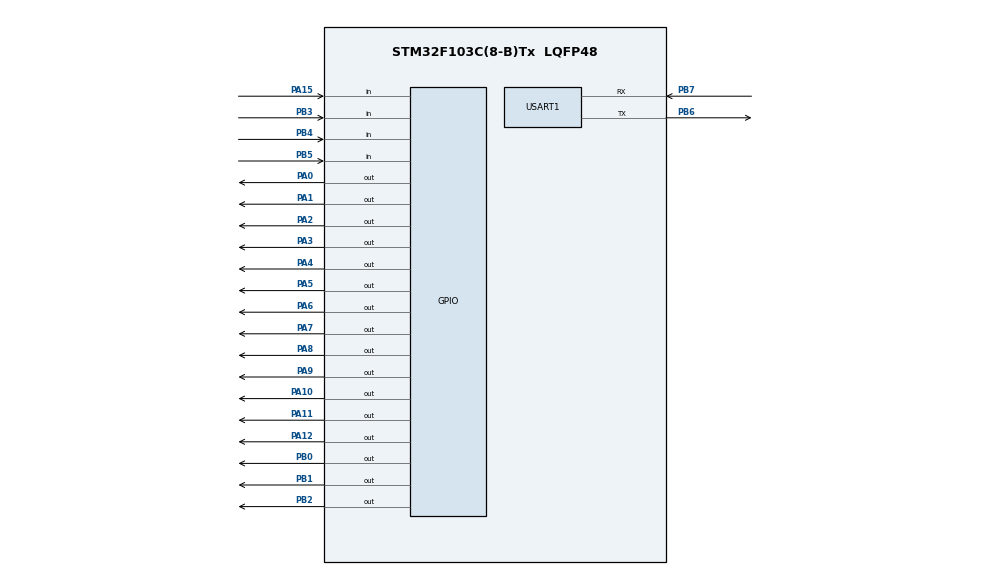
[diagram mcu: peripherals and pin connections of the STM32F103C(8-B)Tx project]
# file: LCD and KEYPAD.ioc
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Mcu.Family=STM32F1
Mcu.Name=STM32F103C(8-B)Tx
Mcu.Package=LQFP48
NVIC.PriorityGroup=NVIC_PRIORITYGROUP_4
PA0-WKUP.Signal=GPIO_Output
PA1.Signal=GPIO_Output
PA10.Signal=GPIO_Output
PA11.Signal=GPIO_Output
PA12.Signal=GPIO_Output
PA13.Mode=Serial_Wire
PA13.Signal=SYS_JTMS-SWDIO
PA14.Mode=Serial_Wire
PA14.Signal=SYS_JTCK-SWCLK
PA15.GPIO_PuPd=GPIO_PULLUP
PA15.Signal=GPIO_Input
PA2.Signal=GPIO_Output
PA3.Signal=GPIO_Output
PA4.Signal=GPIO_Output
PA5.Signal=GPIO_Output
PA6.Signal=GPIO_Output
PA7.Signal=GPIO_Output
PA8.Signal=GPIO_Output
PA9.Signal=GPIO_Output
PB0.Signal=GPIO_Output
PB1.Signal=GPIO_Output
PB2.Signal=GPIO_Output
PB3.GPIO_PuPd=GPIO_PULLUP
PB3.Signal=GPIO_Input
PB4.GPIO_PuPd=GPIO_PULLUP
PB4.Signal=GPIO_Input
PB5.GPIO_PuPd=GPIO_PULLUP
PB5.Signal=GPIO_Input
PB6.Mode=Asynchronous
PB6.Signal=USART1_TX
PB7.Mode=Asynchronous
PB7.Signal=USART1_RX
PD0-OSC_IN.Mode=HSE-External-Oscillator
PD0-OSC_IN.Signal=RCC_OSC_IN
PD1-OSC_OUT.Mode=HSE-External-Oscillator
PD1-OSC_OUT.Signal=RCC_OSC_OUT
ProjectManager.HeapSize=0x200
ProjectManager.StackSize=0x400
ProjectManager.TargetToolchain=MDK-ARM V5.32
RCC.AHBFreq_Value=72000000
RCC.APB1CLKDivider=RCC_HCLK_DIV2
RCC.APB1Freq_Value=36000000
RCC.APB1TimFreq_Value=72000000
RCC.APB2Freq_Value=72000000
RCC.APB2TimFreq_Value=72000000
RCC.HCLKFreq_Value=72000000
RCC.PLLMUL=RCC_PLL_MUL9
RCC.PLLSourceVirtual=RCC_PLLSOURCE_HSE
RCC.SYSCLKFreq_VALUE=72000000
RCC.SYSCLKSource=RCC_SYSCLKSOURCE_PLLCLK
RCC.USBFreq_Value=72000000
USART1.VirtualMode=VM_ASYNC
board=custom

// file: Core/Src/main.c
	/* USER CODE BEGIN Header */
	/**
		******************************************************************************
		* @file           : main.c
		* @brief          : Main program body
		******************************************************************************
		* @attention
		*
		* Copyright (c) 2026 STMicroelectronics.
		* All rights reserved.
		*
		* This software is licensed under terms that can be found in the LICENSE file
		* in the root directory of this software component.
		* If no LICENSE file comes with this software, it is provided AS-IS.
		*
		******************************************************************************
		*/
	/* USER CODE END Header */
	/* Includes ------------------------------------------------------------------*/
	#include "main.h"
	#include "lcd.h"
	/* Private includes ----------------------------------------------------------*/

	/* Private typedef -----------------------------------------------------------*/

	/* Private define ------------------------------------------------------------*/
	/* USER CODE BEGIN PD */
	/* ---------------------------------------------------------------------------
 * 5x4 Matrix Keypad Pin Mapping
 * Rows  (R1-R5) : Outputs, driven LOW one at a time during scanning
 * Columns (C1-C4): Inputs, read while pulled HIGH by external/internal pull-ups
 * A pressed key connects a row to a column, pulling that column LOW
 * ------------------------------------------------------------------------- */
	#define R1_PORT GPIOA
	#define R1_PIN GPIO_PIN_8

	#define R2_PORT GPIOA
	#define R2_PIN GPIO_PIN_9

	#define R3_PORT GPIOA
	#define R3_PIN GPIO_PIN_10

	#define R4_PORT GPIOA
	#define R4_PIN GPIO_PIN_11

	#define R5_PORT GPIOA
	#define R5_PIN GPIO_PIN_12

	#define C1_PORT GPIOB
	#define C1_PIN GPIO_PIN_5

	#define C2_PORT GPIOB
	#define C2_PIN GPIO_PIN_4

	#define C3_PORT GPIOB
	#define C3_PIN GPIO_PIN_3

	#define C4_PORT GPIOA
	#define C4_PIN GPIO_PIN_15

	/* USER CODE END PD */

	/* Private macro -------------------------------------------------------------*/

	/* Private variables ---------------------------------------------------------*/
	UART_HandleTypeDef huart1;

	/* USER CODE BEGIN PV */
	int value ;

	/* Buffer that accumulates every key pressed so far, displayed on the LCD */
	char str[20];

	/* Current write index into str[] — acts as the "next free slot" pointer */
	uint8_t memory = 0;
	/* USER CODE END PV */

	/* Private function prototypes -----------------------------------------------*/
	void SystemClock_Config(void);
	static void MX_GPIO_Init(void);
	static void MX_USART1_UART_Init(void);
	/* USER CODE BEGIN PFP */
	char read_keypad (void);
	/* USER CODE END PFP */

	/* Private user code ---------------------------------------------------------*/
	/* USER CODE BEGIN 0 */
	/* Holds the character code returned by the most recent read_keypad() call */
	uint8_t key;

	/* Lookup table mapping each physical key position (row-major order)
 * to its printable character. Index = (row * 4) + column. */
	uint8_t KEY[]=
	{'F','f','#','*',
		'1','2','3','U',
		'4','5','6','D',
		'7','8','9','E',
		'L','0','R','T' };

/**
 * @brief  Scans the 5x4 matrix keypad and returns the character of the
 *         key currently pressed.
 *
 * Scanning method: one row at a time is driven LOW while all other rows
 * are held HIGH. Each column input is then checked — if a column reads
 * LOW, the key at the intersection of the active row and that column
 * is being pressed. A blocking while-loop waits for key release
 * (simple debounce), after which the character is appended to the
 * str[] buffer and shown on the LCD.
 *
 * @retval Character corresponding to the pressed key, or 'N' if no
 *         key is currently pressed in any row.
 */

	char read_keypad (void)
	{
		/* ---------------- ROW 1 scan ---------------- */
	// Drive R1 LOW, keep R2-R5 HIGH so only Row 1 can pull a column LOW
		HAL_GPIO_WritePin (R1_PORT, R1_PIN,GPIO_PIN_RESET); //PULL R1 LOW
		HAL_GPIO_WritePin (R2_PORT, R2_PIN,GPIO_PIN_SET); //PULL Rx up
		HAL_GPIO_WritePin (R3_PORT, R3_PIN,GPIO_PIN_SET);//PULL Rx up
		HAL_GPIO_WritePin (R4_PORT, R4_PIN,GPIO_PIN_SET); //PULL Rx up
		HAL_GPIO_WritePin (R5_PORT, R5_PIN,GPIO_PIN_SET); //PULL Rx up
		HAL_Delay(5); // Let GPIO levels settle before reading columns

		if(!(HAL_GPIO_ReadPin (C1_PORT, C1_PIN)))
			{
				while (!(HAL_GPIO_ReadPin (C1_PORT,C1_PIN))); //// Wait until button released
		str[memory] = KEY[0];                        // Store new character
		memory++;                                   // Move to next position
		str[memory] = '\0';                         // End string
		lcd_puts(str);                               // Display key on LCD
		lcd_gotoxy(0,0);
		return 'F';
		}
	if(!(HAL_GPIO_ReadPin (C2_PORT, C2_PIN))){
		while (!(HAL_GPIO_ReadPin (C2_PORT,C2_PIN))); //// Wait until button released
	str[memory] = KEY[1];                        // Store new character
		memory++;                                   // Move to next position
		str[memory] = '\0';                         // End string
		lcd_gotoxy(0,0);                        // Display key on LCD
		lcd_puts(str);
	return 'f';
	}
	if(!(HAL_GPIO_ReadPin (C3_PORT, C3_PIN))){
		while (!(HAL_GPIO_ReadPin (C3_PORT,C3_PIN))); //// Wait until button released
	str[memory] = KEY[2];                        // Store new character
		memory++;                                   // Move to next position
		str[memory] = '\0';                         // End string
		lcd_gotoxy(0,0);                          // Display key on LCD
		lcd_puts(str);

	return '#';
	}
	if(!(HAL_GPIO_ReadPin (C4_PORT, C4_PIN))){
		while (!(HAL_GPIO_ReadPin (C4_PORT,C4_PIN))); //// Wait until button released
	str[memory] = KEY[3];                        // Store new character
		memory++;                                   // Move to next position
		str[memory] = '\0';                         // End string
		lcd_gotoxy(0,0);
		lcd_puts(str);                               // Display key on LC

	return '*';
	}

	/* ---------------- ROW 2 scan ---------------- */
	// Drive R2 LOW, keep R1,R3-R5 HIGH so only Row 2 can pull a column LOW
		HAL_GPIO_WritePin (R1_PORT, R1_PIN,GPIO_PIN_SET); //PULL R1 UP
		HAL_GPIO_WritePin (R2_PORT, R2_PIN,GPIO_PIN_RESET); //PULL R2 LOW
		HAL_GPIO_WritePin (R3_PORT, R3_PIN,GPIO_PIN_SET);//PULL Rx up
		HAL_GPIO_WritePin (R4_PORT, R4_PIN,GPIO_PIN_SET); //PULL Rx up
		HAL_GPIO_WritePin (R5_PORT, R5_PIN,GPIO_PIN_SET); //PULL Rx up
		HAL_Delay(5); // Let GPIO levels settle before reading columns

	if(!(HAL_GPIO_ReadPin (C1_PORT, C1_PIN))){
		while (!(HAL_GPIO_ReadPin (C1_PORT,C1_PIN))); //WAIT TILL THE BUTTON IS PERESSED
str[memory] = KEY[4];                        // Store new character
		memory++;                                   // Move to next position
		str[memory] = '\0';                      // End string
		lcd_gotoxy(0,0);
		lcd_puts(str);                               // Display key on LCD
	return '1';
	}
	if(!(HAL_GPIO_ReadPin (C2_PORT, C2_PIN))){
		while (!(HAL_GPIO_ReadPin (C2_PORT,C2_PIN))); //WAIT TILL THE BUTTON IS PORESSED
	str[memory] = KEY[5];                        // Store new character
		memory++;                                   // Move to next position
		str[memory] = '\0';                          // End string
		lcd_gotoxy(0,0);
		lcd_puts(str);                               // Display key on LCD
	return '2';
	}
	if(!(HAL_GPIO_ReadPin (C3_PORT, C3_PIN))){
		while (!(HAL_GPIO_ReadPin (C3_PORT,C3_PIN))); //WAIT TILL THE BUTTON IS PORESSED
str[memory] = KEY[6];                        // Store new character
		memory++;                                   // Move to next position
		str[memory] = '\0';                       // End string
		lcd_gotoxy(0,0);
		lcd_puts(str);                            // Display key on LCD
	return '3';
	}
	if(!(HAL_GPIO_ReadPin (C4_PORT, C4_PIN))){
		while (!(HAL_GPIO_ReadPin (C4_PORT,C4_PIN))); //WAIT TILL THE BUTTON IS PORESSED
	str[memory] = KEY[7];                        // Store new character
		memory++;                                   // Move to next position
		str[memory] = '\0';
		lcd_gotoxy(0,0);                         // End string
		lcd_puts(str);
	return 'U';
	}

	/* ---------------- ROW 3 scan ---------------- */
	// Drive R3 LOW, keep R1,R2,R4,R5 HIGH so only Row 3 can pull a column LOW
		HAL_GPIO_WritePin (R1_PORT, R1_PIN,GPIO_PIN_SET); //PULL R1 UP
		HAL_GPIO_WritePin (R2_PORT, R2_PIN,GPIO_PIN_SET); //PULL Rx up
		HAL_GPIO_WritePin (R3_PORT, R3_PIN,GPIO_PIN_RESET);//PULL R3 LOW
		HAL_GPIO_WritePin (R4_PORT, R4_PIN,GPIO_PIN_SET); //PULL Rx up
		HAL_GPIO_WritePin (R5_PORT, R5_PIN,GPIO_PIN_SET); //PULL Rx up
		HAL_Delay(5);

	if(!(HAL_GPIO_ReadPin (C1_PORT, C1_PIN))){
		while (!(HAL_GPIO_ReadPin (C1_PORT,C1_PIN))); //WAIT TILL THE BUTTON IS PORESSED
str[memory] = KEY[8];                        // Store new character
		memory++;                                   // Move to next position
		str[memory] = '\0';                      // End string
		lcd_gotoxy(0,0);                        //DISPLAY
		lcd_puts(str);
	return '4';
	}
	if(!(HAL_GPIO_ReadPin (C2_PORT, C2_PIN))){
		while (!(HAL_GPIO_ReadPin (C2_PORT,C2_PIN))); //WAIT TILL THE BUTTON IS PORESSED
str[memory] = KEY[9];                        // Store new character
		memory++;                                   // Move to next position
		str[memory] = '\0';                     // End string
		lcd_gotoxy(0,0);                        //DISPLAY
		lcd_puts(str);
	return '5';
	}
	if(!(HAL_GPIO_ReadPin (C3_PORT, C3_PIN))){
		while (!(HAL_GPIO_ReadPin (C3_PORT,C3_PIN))); //WAIT TILL THE BUTTON IS PORESSED
	str[memory] = KEY[10];                        // Store new character
		memory++;                                   // Move to next position
		str[memory] = '\0';                        // End string
		lcd_gotoxy(0,0);                            //DISPLAY
		lcd_puts(str);
	return '6';
	}
	if(!(HAL_GPIO_ReadPin (C4_PORT, C4_PIN))){
		while (!(HAL_GPIO_ReadPin (C4_PORT,C4_PIN))); //WAIT TILL THE BUTTON IS PORESSED
	str[memory] = KEY[11];                        // Store new character
		memory++;                                   // Move to next position
		str[memory] = '\0';                        // End string
		lcd_gotoxy(0,0);
		lcd_puts(str);
	return 'D';
	}
			/* ---------------- ROW 4 scan ---------------- */
	// Drive R4 LOW, keep R1-R3,R5 HIGH so only Row 4 can pull a column LOW
		HAL_GPIO_WritePin (R1_PORT, R1_PIN,GPIO_PIN_SET); //PULL R1 UP
		HAL_GPIO_WritePin (R2_PORT, R2_PIN,GPIO_PIN_SET); //PULL Rx up
		HAL_GPIO_WritePin (R3_PORT, R3_PIN,GPIO_PIN_SET);//PULL R3 UP
		HAL_GPIO_WritePin (R4_PORT, R4_PIN,GPIO_PIN_RESET); //PULL R4 LOW
		HAL_GPIO_WritePin (R5_PORT, R5_PIN,GPIO_PIN_SET); //PULL Rx up
		HAL_Delay(5);

	if(!(HAL_GPIO_ReadPin (C1_PORT, C1_PIN))){
		while (!(HAL_GPIO_ReadPin (C1_PORT,C1_PIN))); //WAIT TILL THE BUTTON IS PORESSED
	str[memory] = KEY[12];                        // Store new character
		memory++;                                   // Move to next position
		str[memory] = '\0';
		lcd_gotoxy(0,0);                         // End string
		lcd_puts(str);                               // Display key on LCD
	return '7';
	}
	if(!(HAL_GPIO_ReadPin (C2_PORT, C2_PIN))){
		while (!(HAL_GPIO_ReadPin (C2_PORT,C2_PIN))); //WAIT TILL THE BUTTON IS PORESSED
	str[memory] = KEY[13];                        // Store new character
		memory++;                                   // Move to next position
		str[memory] = '\0';
		lcd_gotoxy(0,0);                        // End string
		lcd_puts(str);
	return '8';
	}
	if(!(HAL_GPIO_ReadPin (C3_PORT, C3_PIN))){
		while (!(HAL_GPIO_ReadPin (C3_PORT,C3_PIN))); //WAIT TILL THE BUTTON IS PORESSED
	str[memory] = KEY[14];                        // Store new character
		memory++;                                   // Move to next position
		str[memory] = '\0';
		lcd_gotoxy(0,0);                          // End string
		lcd_puts(str);
	return '9';
	}
	if(!(HAL_GPIO_ReadPin (C4_PORT, C4_PIN))){
		while (!(HAL_GPIO_ReadPin (C4_PORT,C4_PIN))); //WAIT TILL THE BUTTON IS PORESSED
str[memory] = KEY[15];                        // Store new character
		memory++;                                   // Move to next position
		str[memory] = '\0';
		lcd_gotoxy(0,0);                          // End string
		lcd_puts(str);
	return 'E';
	}
				/* ---------------- ROW 5 scan ---------------- */
	// Drive R5 LOW, keep R1-R4 HIGH so only Row 5 can pull a column LOW
		HAL_GPIO_WritePin (R1_PORT, R1_PIN,GPIO_PIN_SET); //PULL R1 UP
		HAL_GPIO_WritePin (R2_PORT, R2_PIN,GPIO_PIN_SET); //PULL Rx up
		HAL_GPIO_WritePin (R3_PORT, R3_PIN,GPIO_PIN_SET);//PULL R3 UP
		HAL_GPIO_WritePin (R4_PORT, R4_PIN,GPIO_PIN_SET); //PULL Rx up
		HAL_GPIO_WritePin (R5_PORT, R5_PIN,GPIO_PIN_RESET); //PULL R5 LOW
		HAL_Delay(5);

	if(!(HAL_GPIO_ReadPin (C1_PORT, C1_PIN))){
	str[memory] = KEY[16];                        // Store new character
		memory++;                                   // Move to next position
		str[memory] = '\0';
		lcd_gotoxy(0,0);                        // End string
		lcd_puts(str);
	return 'L';
	}
	if(!(HAL_GPIO_ReadPin (C2_PORT, C2_PIN))){
		while (!(HAL_GPIO_ReadPin (C2_PORT,C2_PIN))); //WAIT TILL THE BUTTON IS PORESSED
	str[memory] = KEY[17];                        // Store new character
		memory++;                                   // Move to next position
		str[memory] = '\0';
		lcd_gotoxy(0,0);                          // End string
		lcd_puts(str);
	return '0';
	}
	if(!(HAL_GPIO_ReadPin (C3_PORT, C3_PIN))){
		while (!(HAL_GPIO_ReadPin (C3_PORT,C3_PIN))); //WAIT TILL THE BUTTON IS PORESSED
	str[memory] = KEY[18];                        // Store new character
		memory++;                                   // Move to next position
		str[memory] = '\0';
		lcd_gotoxy(0,0);                        // End string
		lcd_puts(str);
	return 'R';
	}
	if(!(HAL_GPIO_ReadPin (C4_PORT, C4_PIN))){
		while (!(HAL_GPIO_ReadPin (C4_PORT,C4_PIN))); //WAIT TILL THE BUTTON IS PORESSED
	str[memory] = KEY[19];                        // Store new character
		memory++;                                   // Move to next position
		str[memory] = '\0';
		lcd_gotoxy(0,0);                         // End string
		lcd_puts(str);
	return 'T';

	}

// No column pulled LOW on any row — no key currently pressed
	return 'N';

	}

	/* USER CODE END 0 */

	/**
		* @brief  The application entry point.
		* @retval int
		*/
	int main(void)
	{

		/* MCU Configuration--------------------------------------------------------*/

		/* Reset of all peripherals, Initializes the Flash interface and the Systick. */
		HAL_Init();

		/* Configure the system clock */
		SystemClock_Config();

		/* Initialize all configured peripherals */
		MX_GPIO_Init();
		MX_USART1_UART_Init();
		/* USER CODE BEGIN 2 */
	 lcd_init();                  // Initialize LCD

	 lcd_clear();                 // Clear LCD display

		/* USER CODE END 2 */

		/* Infinite loop */
		while (1)
		{
	key = read_keypad();  // Poll the keypad every loop iteration

		}
	}

	/**
		* @brief System Clock Configuration
		* @retval None
		*/
	void SystemClock_Config(void)
	{
		RCC_OscInitTypeDef RCC_OscInitStruct = {0};
		RCC_ClkInitTypeDef RCC_ClkInitStruct = {0};

		/** Initializes the RCC Oscillators according to the specified parameters
		* in the RCC_OscInitTypeDef structure.
		*/
		RCC_OscInitStruct.OscillatorType = RCC_OSCILLATORTYPE_HSE;
		RCC_OscInitStruct.HSEState = RCC_HSE_ON;
		RCC_OscInitStruct.HSEPredivValue = RCC_HSE_PREDIV_DIV1;
		RCC_OscInitStruct.HSIState = RCC_HSI_ON;
		RCC_OscInitStruct.PLL.PLLState = RCC_PLL_ON;
		RCC_OscInitStruct.PLL.PLLSource = RCC_PLLSOURCE_HSE;
		RCC_OscInitStruct.PLL.PLLMUL = RCC_PLL_MUL9;
		if (HAL_RCC_OscConfig(&RCC_OscInitStruct) != HAL_OK)
		{
			Error_Handler();
		}

		/** Initializes the CPU, AHB and APB buses clocks
		*/
		RCC_ClkInitStruct.ClockType = RCC_CLOCKTYPE_HCLK|RCC_CLOCKTYPE_SYSCLK
																|RCC_CLOCKTYPE_PCLK1|RCC_CLOCKTYPE_PCLK2;
		RCC_ClkInitStruct.SYSCLKSource = RCC_SYSCLKSOURCE_PLLCLK;
		RCC_ClkInitStruct.AHBCLKDivider = RCC_SYSCLK_DIV1;
		RCC_ClkInitStruct.APB1CLKDivider = RCC_HCLK_DIV2;
		RCC_ClkInitStruct.APB2CLKDivider = RCC_HCLK_DIV1;

		if (HAL_RCC_ClockConfig(&RCC_ClkInitStruct, FLASH_LATENCY_2) != HAL_OK)
		{
			Error_Handler();
		}
	}

	/**
		* @brief USART1 Initialization Function
		* @param None
		* @retval None
		*/
	static void MX_USART1_UART_Init(void)
	{

		huart1.Instance = USART1;
		huart1.Init.BaudRate = 115200;
		huart1.Init.WordLength = UART_WORDLENGTH_8B;
		huart1.Init.StopBits = UART_STOPBITS_1;
		huart1.Init.Parity = UART_PARITY_NONE;
		huart1.Init.Mode = UART_MODE_TX_RX;
		huart1.Init.HwFlowCtl = UART_HWCONTROL_NONE;
		huart1.Init.OverSampling = UART_OVERSAMPLING_16;
		if (HAL_UART_Init(&huart1) != HAL_OK)
		{
			Error_Handler();
		}

	}

	/**
		* @brief GPIO Initialization Function
		* @param None
		* @retval None
		*/
	static void MX_GPIO_Init(void)
	{
		GPIO_InitTypeDef GPIO_InitStruct = {0};

		/* GPIO Ports Clock Enable */
		__HAL_RCC_GPIOD_CLK_ENABLE();
		__HAL_RCC_GPIOA_CLK_ENABLE();
		__HAL_RCC_GPIOB_CLK_ENABLE();

		/*Configure GPIO pin Output Level */
		HAL_GPIO_WritePin(GPIOA, GPIO_PIN_0|GPIO_PIN_1|GPIO_PIN_2|GPIO_PIN_3
														|GPIO_PIN_4|GPIO_PIN_5|GPIO_PIN_6|GPIO_PIN_7
														|GPIO_PIN_8|GPIO_PIN_9|GPIO_PIN_10|GPIO_PIN_11
														|GPIO_PIN_12, GPIO_PIN_RESET);

		/*Configure GPIO pin Output Level */
		HAL_GPIO_WritePin(GPIOB, GPIO_PIN_0|GPIO_PIN_1|GPIO_PIN_2, GPIO_PIN_RESET);

		/*Configure GPIO pins : PA0 PA1 PA2 PA3
														 PA4 PA5 PA6 PA7
														 PA8 PA9 PA10 PA11
														 PA12 */
		GPIO_InitStruct.Pin = GPIO_PIN_0|GPIO_PIN_1|GPIO_PIN_2|GPIO_PIN_3
														|GPIO_PIN_4|GPIO_PIN_5|GPIO_PIN_6|GPIO_PIN_7
														|GPIO_PIN_8|GPIO_PIN_9|GPIO_PIN_10|GPIO_PIN_11
														|GPIO_PIN_12;
		GPIO_InitStruct.Mode = GPIO_MODE_OUTPUT_PP;
		GPIO_InitStruct.Pull = GPIO_NOPULL;
		GPIO_InitStruct.Speed = GPIO_SPEED_FREQ_LOW;
		HAL_GPIO_Init(GPIOA, &GPIO_InitStruct);

		/*Configure GPIO pins : PB0 PB1 PB2 */
		GPIO_InitStruct.Pin = GPIO_PIN_0|GPIO_PIN_1|GPIO_PIN_2;
		GPIO_InitStruct.Mode = GPIO_MODE_OUTPUT_PP;
		GPIO_InitStruct.Pull = GPIO_NOPULL;
		GPIO_InitStruct.Speed = GPIO_SPEED_FREQ_LOW;
		HAL_GPIO_Init(GPIOB, &GPIO_InitStruct);

		/*Configure GPIO pin : PA15 */
		GPIO_InitStruct.Pin = GPIO_PIN_15;
		GPIO_InitStruct.Mode = GPIO_MODE_INPUT;
		GPIO_InitStruct.Pull = GPIO_PULLUP;
		HAL_GPIO_Init(GPIOA, &GPIO_InitStruct);

		/*Configure GPIO pins : PB3 PB4 PB5 */
		GPIO_InitStruct.Pin = GPIO_PIN_3|GPIO_PIN_4|GPIO_PIN_5;
		GPIO_InitStruct.Mode = GPIO_MODE_INPUT;
		GPIO_InitStruct.Pull = GPIO_PULLUP;
		HAL_GPIO_Init(GPIOB, &GPIO_InitStruct);

	}

	/**
		* @brief  This function is executed in case of error occurrence.
		* @retval None
		*/
	void Error_Handler(void)
	{
		__disable_irq();
		while (1)
		{
		}
	}

	#ifdef  USE_FULL_ASSERT
	/**
		* @brief  Reports the name of the source file and the source line number
		*         where the assert_param error has occurred.
		* @param  file: pointer to the source file name
		* @param  line: assert_param error line source number
		* @retval None
		*/
	void assert_failed(uint8_t *file, uint32_t line)
	{
	}
	#endif /* USE_FULL_ASSERT */
